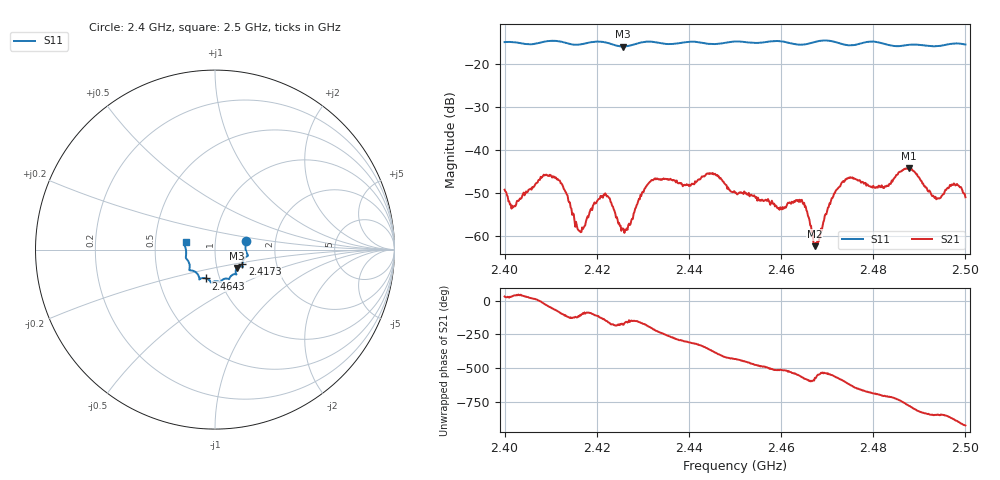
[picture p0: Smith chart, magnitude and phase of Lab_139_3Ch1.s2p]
# Hz S RI R 50
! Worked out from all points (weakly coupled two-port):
!   601 points, 2.4 GHz to 2.5 GHz, reference 50 ohm
!   highest |S21| = -44.20 dB at 2.4877 GHz (marker M1); lowest = -62.4 dB at 2.4673 GHz (marker M2)
!   lowest |S11| = -15.9 dB at 2.4257 GHz (marker M3), VSWR 1.38, Z = 62.4 - j13.1 ohm
!   |S11| at or under -10 dB: start of sweep to end of sweep
!   S12 and S22 are empty: the file has one direction only
!   S11 on the Smith chart (normalised r, x): 2.4 GHz: 1.41, +0.14; 2.4173 GHz: 1.34, -0.23; 2.4643 GHz: 0.86, -0.28; 2.5 GHz: 0.72, +0.06
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2.4e9  0.1733 0.0495  0.00298 0.00175  0 0  0 0
2.402e9  0.175 0.0413  0.00174 0.00135  0 0  0 0
2.408333e9  0.1795 -0.0237  0.00479 -0.0015  0 0  0 0
2.411e9  0.1834 -0.0342  0.00178 -0.00437  0 0  0 0
2.416667e9  0.1529 -0.0748  -0.000209 -0.0011  0 0  0 0
2.417333e9  0.1523 -0.0823  5.88e-05 -0.0013  0 0  0 0
2.422e9  0.1515 -0.0944  -0.00265 -0.00153  0 0  0 0
2.425667e9  0.1226 -0.1023  -0.00122 -5.01e-05  0 0  0 0
2.430833e9  0.1193 -0.1382  -0.00384 0.000286  0 0  0 0
2.433333e9  0.1127 -0.1367  -0.00294 0.0035  0 0  0 0
2.445167e9  0.0539 -0.1622  0.00526 -0.00126  0 0  0 0
2.45e9  0.0296 -0.1808  0.00104 -0.00301  0 0  0 0
2.459667e9  -0.023 -0.1835  -0.00181 -0.0009  0 0  0 0
2.464333e9  -0.0504 -0.1605  -0.00243 0.000947  0 0  0 0
2.466667e9  -0.0762 -0.1597  -0.000621 0.000913  0 0  0 0
2.467333e9  -0.0816 -0.1617  -0.000661 0.00038  0 0  0 0
2.473833e9  -0.0963 -0.1378  -0.00229 0.00376  0 0  0 0
2.483333e9  -0.1409 -0.0895  0.00377 0.000657  0 0  0 0
2.487667e9  -0.159 -0.0526  0.00349 -0.00508  0 0  0 0
2.493333e9  -0.1609 -0.00989  -0.00153 -0.00231  0 0  0 0
2.497667e9  -0.171 0.03  -0.0038 -0.00131  0 0  0 0
2.5e9  -0.1637 0.0421  -0.00262 0.00106  0 0  0 0
